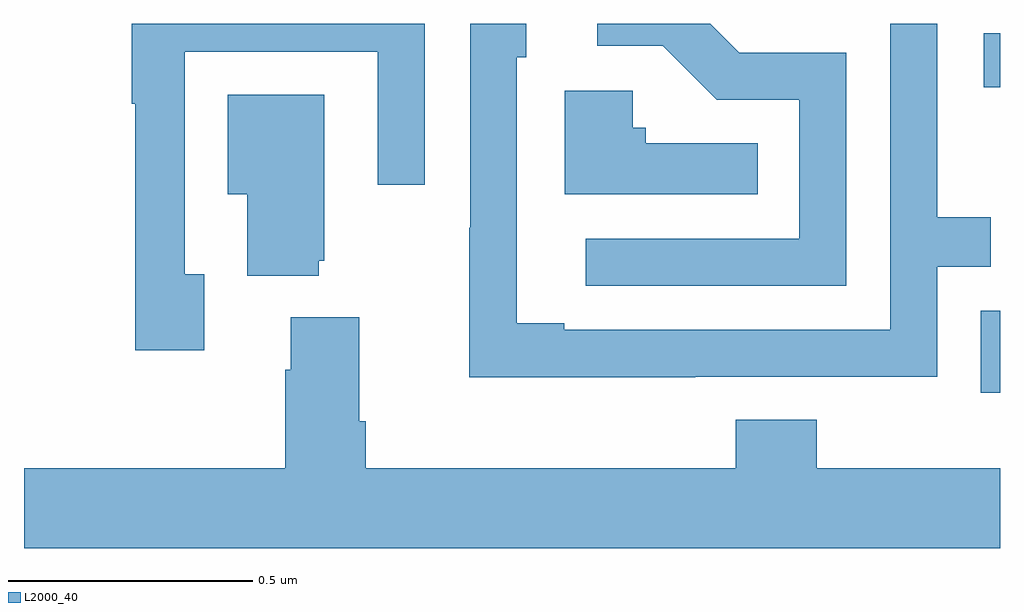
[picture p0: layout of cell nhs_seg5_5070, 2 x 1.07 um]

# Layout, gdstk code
import gdstk
lib = gdstk.Library(unit=1e-6, precision=1e-09)
def R(c, l, rs):  # rectangles x0, y0, x1, y1
    for r in rs: c.add(gdstk.rectangle(r[:2], r[2:], *l))
def P(c, l, *ps):  # polygons
    for p in ps: c.add(gdstk.Polygon(p, *l))
L2000_40 = (2000, 40)

nhs_seg5_5070 = lib.new_cell('nhs_seg5_5070')
R(nhs_seg5_5070, L2000_40, [(179.961,893.043,180,893.211), (179.967,893.669,180,893.779)])
P(nhs_seg5_5070, L2000_40, [(179.375,893.076),(179.871,893.076),(179.871,893.301),(179.981,893.301),(179.981,893.402),(179.871,893.402),(179.871,893.799),(179.775,893.799),(179.775,893.172),(179.107,893.172),(179.107,893.185),(179.01,893.185),(179.01,893.73),(179.029,893.73),(179.029,893.799),(178.914,893.799),(178.914,893.381),(178.912,893.381),(178.912,893.075),(179.375,893.075)],
  [(178.369,893.286),(178.329,893.286),(178.329,893.742),(178.725,893.742),(178.725,893.469),(178.821,893.469),(178.821,893.799),(178.221,893.799),(178.221,893.635),(178.228,893.635),(178.228,893.13),(178.369,893.13)],
  [(179.685,893.739),(179.466,893.739),(179.406,893.799),(179.175,893.799),(179.175,893.754),(179.309,893.754),(179.42,893.643),(179.589,893.643),(179.589,893.358),(179.151,893.358),(179.151,893.262),(179.685,893.262)],
  [(179.504,893.554),(179.274,893.554),(179.274,893.586),(179.247,893.586),(179.247,893.662),(179.108,893.662),(179.108,893.45),(179.504,893.45)],
  [(178.604,893.313),(178.615,893.313),(178.615,893.653),(178.418,893.653),(178.418,893.45),(178.457,893.45),(178.457,893.282),(178.604,893.282)],
  [(180,892.888),(179.624,892.888),(179.624,892.987),(179.459,892.987),(179.459,892.888),(178.7,892.888),(178.7,892.984),(178.687,892.984),(178.687,893.197),(178.547,893.197),(178.547,893.09),(178.535,893.09),(178.535,892.888),(178,892.888),(178,892.724),(180,892.724)])

lib.write_gds('nhs_seg5_5070.gds')
